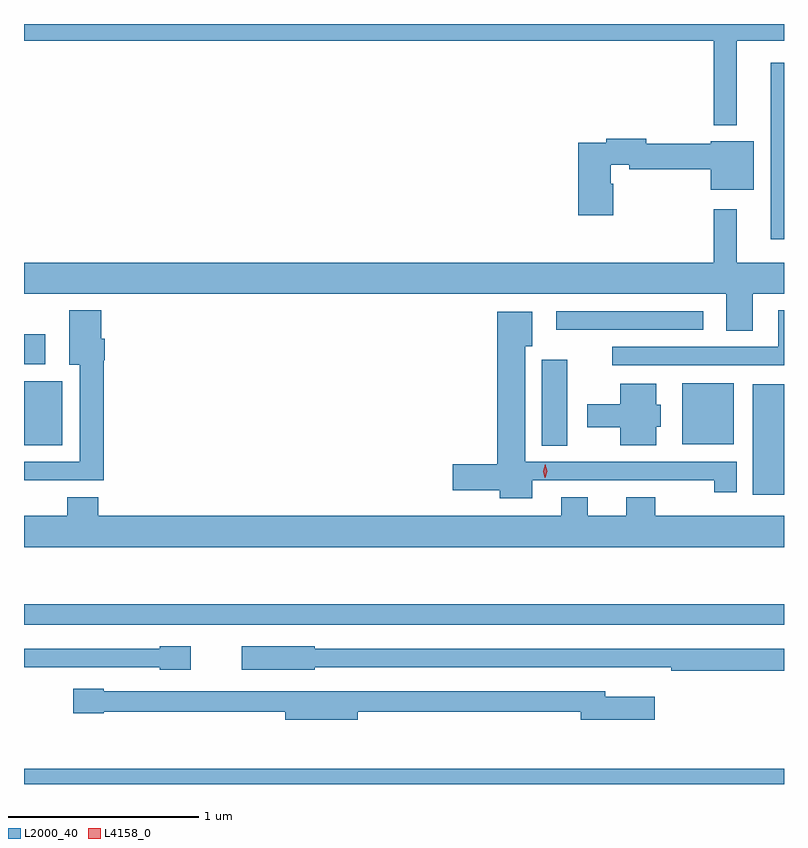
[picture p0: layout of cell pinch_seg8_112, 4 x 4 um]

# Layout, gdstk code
import gdstk
lib = gdstk.Library(unit=1e-6, precision=1e-09)
def R(c, l, rs):  # rectangles x0, y0, x1, y1
    for r in rs: c.add(gdstk.rectangle(r[:2], r[2:], *l))
def P(c, l, *ps):  # polygons
    for p in ps: c.add(gdstk.Polygon(p, *l))
L2000_40 = (2000, 40)
L4158_0 = (4158, 0)

pinch_seg8_112 = lib.new_cell('pinch_seg8_112')
R(pinch_seg8_112, L2000_40, [(1057.74,1085.949,1061.74,1086.028), (1057.74,1086.786,1061.74,1086.895), (1061.576,1087.472,1061.74,1088.053), (1060.466,1087.729,1060.6,1088.182), (1057.74,1087.733,1057.942,1088.068), (1061.204,1087.736,1061.476,1088.059), (1057.74,1088.157,1057.852,1088.317), (1060.542,1088.34,1061.314,1088.436), (1061.669,1088.817,1061.74,1089.745)])
P(pinch_seg8_112, L2000_40, [(1061.491,1089.86),(1061.74,1089.86),(1061.74,1089.949),(1057.74,1089.949),(1057.74,1089.86),(1061.37,1089.86),(1061.37,1089.416),(1061.491,1089.416)],
  [(1060.841,1089.107),(1060.828,1089.107),(1060.828,1089.208),(1060.926,1089.208),(1060.926,1089.184),(1061.354,1089.184),(1061.354,1089.077),(1061.581,1089.077),(1061.581,1089.331),(1061.354,1089.331),(1061.354,1089.32),(1061.016,1089.32),(1061.016,1089.344),(1060.804,1089.344),(1060.804,1089.324),(1060.658,1089.324),(1060.658,1088.943),(1060.841,1088.943)],
  [(1061.575,1088.528),(1061.74,1088.528),(1061.74,1088.692),(1061.491,1088.692),(1061.491,1088.974),(1061.37,1088.974),(1061.37,1088.692),(1057.74,1088.692),(1057.74,1088.528),(1061.435,1088.528),(1061.435,1088.335),(1061.575,1088.335)],
  [(1058.159,1088.178),(1058.164,1088.178),(1058.164,1088.292),(1058.146,1088.292),(1058.146,1088.443),(1057.979,1088.443),(1057.979,1088.156),(1058.033,1088.156),(1058.033,1087.644),(1057.74,1087.644),(1057.74,1087.547),(1058.159,1087.547)],
  [(1061.74,1088.443),(1061.711,1088.443),(1061.711,1088.25),(1060.836,1088.25),(1060.836,1088.154),(1061.74,1088.154)],
  [(1060.414,1087.548),(1061.146,1087.548),(1061.146,1087.547),(1061.374,1087.547),(1061.374,1087.485),(1061.491,1087.485),(1061.491,1087.644),(1060.378,1087.644),(1060.378,1088.252),(1060.414,1088.252),(1060.414,1088.434),(1060.232,1088.434),(1060.232,1087.631),(1059.996,1087.631),(1059.996,1087.496),(1060.244,1087.496),(1060.244,1087.454),(1060.414,1087.454)],
  [(1061.068,1087.83),(1061.092,1087.83),(1061.092,1087.944),(1061.068,1087.944),(1061.068,1088.056),(1060.877,1088.056),(1060.877,1087.948),(1060.704,1087.948),(1060.704,1087.826),(1060.877,1087.826),(1060.877,1087.733),(1061.068,1087.733)],
  [(1060.91,1087.459),(1060.91,1087.36),(1060.708,1087.36),(1060.708,1087.459),(1060.568,1087.459),(1060.568,1087.36),(1058.132,1087.36),(1058.132,1087.459),(1057.967,1087.459),(1057.967,1087.36),(1057.74,1087.36),(1057.74,1087.196),(1061.74,1087.196),(1061.74,1087.36),(1061.063,1087.36),(1061.063,1087.459)],
  [(1061.74,1086.66),(1059.27,1086.66),(1059.27,1086.673),(1058.886,1086.673),(1058.886,1086.551),(1059.27,1086.551),(1059.27,1086.564),(1060.894,1086.564),(1060.894,1086.563),(1061.146,1086.563),(1061.146,1086.544),(1061.74,1086.544)],
  [(1058.617,1086.673),(1058.454,1086.673),(1058.454,1086.66),(1057.74,1086.66),(1057.74,1086.564),(1058.454,1086.564),(1058.454,1086.551),(1058.617,1086.551)],
  [(1059.496,1086.33),(1060.67,1086.33),(1060.67,1086.287),(1061.059,1086.287),(1061.059,1086.409),(1060.798,1086.409),(1060.798,1086.438),(1058.16,1086.438),(1058.16,1086.451),(1057.998,1086.451),(1057.998,1086.322),(1058.16,1086.322),(1058.16,1086.33),(1059.116,1086.33),(1059.116,1086.287),(1059.496,1086.287)])
P(pinch_seg8_112, L4158_0, [(1060.482,1087.56),(1060.482,1087.56),(1060.473,1087.595),(1060.483,1087.631),(1060.483,1087.631),(1060.483,1087.631),(1060.493,1087.595),(1060.483,1087.56)])

lib.write_gds('pinch_seg8_112.gds')
